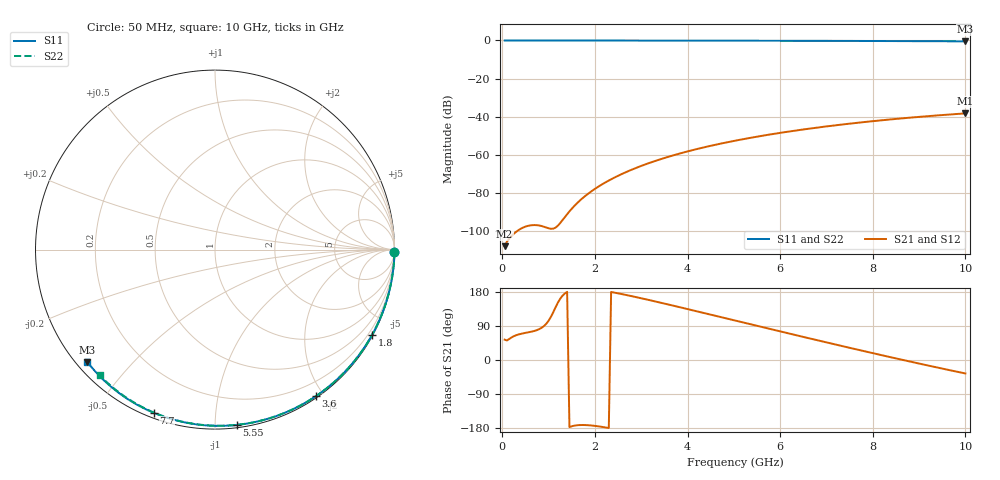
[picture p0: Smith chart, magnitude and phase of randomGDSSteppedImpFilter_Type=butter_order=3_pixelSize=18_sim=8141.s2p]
! freq	dB(S11)	phase(S11)	dB(S12)	phase(S12)
!  dB(S21)	phase(S21)	dB(S22)	phase(S22)
!S-par simulation data
#  GHz  S  DB  R 50
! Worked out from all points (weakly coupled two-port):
!   200 points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, 50 MHz to 10 GHz, reference 50 ohm
!   highest |S21| = -38.29 dB at 10 GHz (marker M1); lowest = -108.0 dB at 50 MHz (marker M2)
!   lowest |S11| = -0.5 dB at 10 GHz (marker M3), VSWR 37.10, Z = 1.54 - j18.9 ohm
!   |S11| at or under -10 dB: nowhere
!   |S22| runs from -0.4 to 0.0 dB; largest |S21 - S12| = 0
!   S11 on the Smith chart (normalised r, x): 50 MHz: open; 1.8 GHz: 0.03, -3.95; 3.6 GHz: 0.02, -1.90; 5.55 GHz: 0.02, -1.13; 7.7 GHz: 0.02, -0.69; 10 GHz: 0.03, -0.38
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0.05  -0.00 -0.8  -108.01 53.7  -108.01 53.7  -0.00 -0.8
0.45  -0.01 -7.2  -98.23 70.3  -98.23 70.3  -0.01 -6.9
0.9  -0.02 -14.4  -97.80 89.6  -97.80 89.6  -0.02 -13.7
1.75  -0.04 -27.7  -82.47 -171.5  -82.47 -171.5  -0.03 -26.4
1.8  -0.04 -28.4  -81.47 -171.7  -81.47 -171.7  -0.03 -27.1
1.85  -0.04 -29.2  -80.53 -172.1  -80.53 -172.1  -0.04 -27.9
1.9  -0.04 -30.0  -79.62 -172.5  -79.62 -172.5  -0.04 -28.6
2.05  -0.04 -32.3  -77.13 -174.6  -77.13 -174.6  -0.04 -30.8
2.25  -0.05 -35.4  -74.21 -178.4  -74.21 -178.4  -0.04 -33.7
2.65  -0.05 -41.4  -69.36 172.2  -69.36 172.2  -0.05 -39.5
3  -0.06 -46.7  -65.87 163.0  -65.87 163.0  -0.06 -44.6
3.4  -0.07 -52.6  -62.48 151.8  -62.48 151.8  -0.07 -50.2
3.6  -0.07 -55.5  -60.98 146.1  -60.98 146.1  -0.07 -53.0
4.3  -0.09 -65.6  -56.44 125.6  -56.44 125.6  -0.09 -62.7
5.05  -0.12 -76.0  -52.52 103.4  -52.52 103.4  -0.11 -72.7
5.55  -0.14 -82.8  -50.30 88.7  -50.30 88.7  -0.13 -79.2
6.1  -0.16 -90.1  -48.15 72.6  -48.15 72.6  -0.15 -86.2
6.7  -0.19 -97.9  -46.07 55.1  -46.07 55.1  -0.18 -93.7
7.7  -0.25 -110.6  -43.14 26.5  -43.14 26.5  -0.24 -105.8
8.35  -0.30 -118.6  -41.53 8.3  -41.53 8.3  -0.29 -113.5
9.2  -0.38 -128.9  -39.73 -14.8  -39.73 -14.8  -0.36 -123.4
10  -0.47 -138.6  -38.29 -35.5  -38.29 -35.5  -0.45 -132.6
